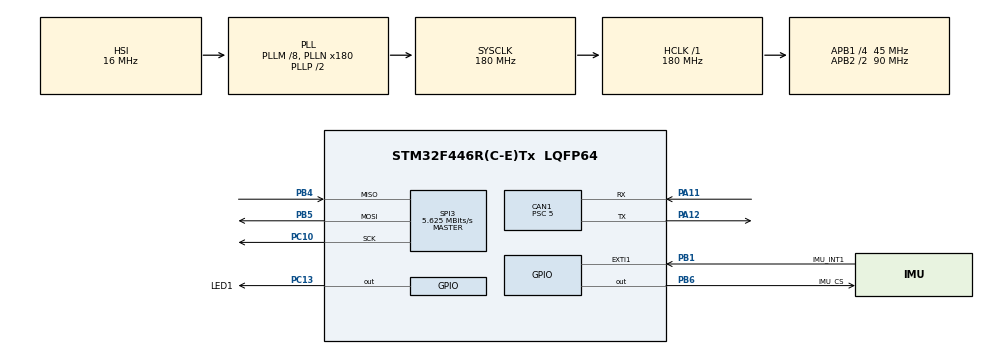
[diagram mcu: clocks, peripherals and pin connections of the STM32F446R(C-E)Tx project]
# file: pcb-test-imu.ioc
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CAN1.BS1=CAN_BS1_6TQ
CAN1.BS2=CAN_BS2_2TQ
CAN1.CalculateBaudRate=1000000
CAN1.CalculateTimeBit=1000
CAN1.CalculateTimeQuantum=111.11111111111111
CAN1.Prescaler=5
Mcu.Family=STM32F4
Mcu.Name=STM32F446R(C-E)Tx
Mcu.Package=LQFP64
NVIC.EXTI1_IRQn=true\:0\:0\:false\:false\:true\:true\:true\:true
NVIC.PriorityGroup=NVIC_PRIORITYGROUP_4
PA11.Mode=CAN_Activate
PA11.Signal=CAN1_RX
PA12.Mode=CAN_Activate
PA12.Signal=CAN1_TX
PA13.Mode=Serial_Wire
PA13.Signal=SYS_JTMS-SWDIO
PA14.Mode=Serial_Wire
PA14.Signal=SYS_JTCK-SWCLK
PB1.GPIO_Label=IMU_INT1
PB1.GPIO_PuPd=GPIO_PULLDOWN
PB1.Signal=GPXTI1
PB3.Signal=SYS_JTDO-SWO
PB4.Mode=Full_Duplex_Master
PB4.Signal=SPI3_MISO
PB5.Mode=Full_Duplex_Master
PB5.Signal=SPI3_MOSI
PB6.GPIO_Label=IMU_CS
PB6.Signal=GPIO_Output
PC10.Mode=Full_Duplex_Master
PC10.Signal=SPI3_SCK
PC13.GPIO_Label=LED1
PC13.Signal=GPIO_Output
ProjectManager.HeapSize=0x200
ProjectManager.StackSize=0x400
ProjectManager.TargetToolchain=STM32CubeIDE
RCC.AHBFreq_Value=180000000
RCC.APB1CLKDivider=RCC_HCLK_DIV4
RCC.APB1Freq_Value=45000000
RCC.APB1TimFreq_Value=90000000
RCC.APB2CLKDivider=RCC_HCLK_DIV2
RCC.APB2Freq_Value=90000000
RCC.APB2TimFreq_Value=180000000
RCC.CortexFreq_Value=180000000
RCC.HCLKFreq_Value=180000000
RCC.PLLM=8
RCC.PLLN=180
RCC.SYSCLKFreq_VALUE=180000000
RCC.SYSCLKSource=RCC_SYSCLKSOURCE_PLLCLK
RCC.USBFreq_Value=180000000
RCC.VCOOutputFreq_Value=360000000
SPI3.BaudRatePrescaler=SPI_BAUDRATEPRESCALER_8
SPI3.CLKPhase=SPI_PHASE_2EDGE
SPI3.CLKPolarity=SPI_POLARITY_HIGH
SPI3.CalculateBaudRate=5.625 MBits/s
SPI3.Direction=SPI_DIRECTION_2LINES
SPI3.Mode=SPI_MODE_MASTER
SPI3.VirtualType=VM_MASTER
board=custom

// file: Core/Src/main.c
/* USER CODE BEGIN Header */
/**
  ******************************************************************************
  * @file           : main.c
  * @brief          : Main program body
  ******************************************************************************
  * @attention
  *
  * Copyright (c) 2026 STMicroelectronics.
  * All rights reserved.
  *
  * This software is licensed under terms that can be found in the LICENSE file
  * in the root directory of this software component.
  * If no LICENSE file comes with this software, it is provided AS-IS.
  *
  ******************************************************************************
  */
/* USER CODE END Header */
#include "main.h"
#include "can.h"
#include "spi.h"
#include "gpio.h"

/* USER CODE BEGIN Includes */
#include "lsm6dso32_reg.h"
#include "lsm6dso32_port.h"
#include <stdio.h>
/* USER CODE END Includes */

/* USER CODE BEGIN PD */
#define IMU_BOOT_TIME_MS     35  // Datasheet turn-on time
#define TX_BUF_SIZE          96  // Enough for one CSV line
#define LED_BLINK_DIV        52  // Samples per LED1 toggle (~1 Hz blink at 104 Hz ODR)
#define IMU_RESET_TIMEOUT_MS 100 // Ceiling on the software-reset flag poll
/* USER CODE END PD */

/* USER CODE BEGIN PV */
/* Must outlive the ctx: lsm6dso32_spi_ctx() keeps a pointer to it. */
static lsm6dso32_spi_bus_t imu_bus = { &hspi3, IMU_CS_GPIO_Port, IMU_CS_Pin };
static stmdev_ctx_t imu;
/* USER CODE END PV */

void SystemClock_Config(void);
/* USER CODE BEGIN PFP */
static void swo_write(const char *buf, int len);
static void imu_init(void);
static void imu_stream(void);
/* USER CODE END PFP */

/* USER CODE BEGIN 0 */

/**
  * @brief  Sends bytes out ITM stimulus port 0, which the debugger streams
  *         over SWO (PB3). View it in the SWV ITM Data Console with port 0
  *         enabled. With no debugger attached, or SWV not started, ITM is
  *         disabled and ITM_SendChar returns at once, so this never blocks.
  * @retval None
  */
static void swo_write(const char *buf, int len)
{
  for (int i = 0; i < len; i++)
    ITM_SendChar((uint32_t)buf[i]);
}

/**
  * @brief  Brings the LSM6DSO32 up on SPI3: confirms the sensor is responsive,
  *         restores a known register state, locks the bus to SPI, then sets
  *         the output ranges and data rates.
  * @retval None (traps in Error_Handler if the sensor does not respond)
  */
static void imu_init(void)
{
  uint8_t whoami = 0;
  uint8_t rst;
  char msg[TX_BUF_SIZE];
  int  n;

  /* Constructor drives the chip select line idle-high */
  imu = lsm6dso32_spi_ctx(&imu_bus);

  /* Allow sensor turn-on time before the first transaction */
  HAL_Delay(IMU_BOOT_TIME_MS);

  /* Report what actually came back either way -- on a new board the value
     points at the fault:
       0x00        MISO stuck low: not connected, or sensor not driving it
       0xFF        MISO floating high: CS not reaching the sensor, or no power
       0xD8 / 0x36 0x6C shifted by a bit: stray clock edge, check CPOL/CPHA
       other       wrong part, or a short on the bus */
  int32_t id_status = lsm6dso32_device_id_get(&imu, &whoami);

  n = snprintf(msg, sizeof(msg), "IMU WHO_AM_I: got 0x%02X, want 0x%02X (bus status %ld)\r\n",
               whoami, LSM6DSO32_ID, (long)id_status);
  swo_write(msg, n);

  if (id_status != 0 || whoami != LSM6DSO32_ID)
    Error_Handler();

  /* Software reset, then wait for sensor to clear the flag. Bounded so a bus
     dropout here traps instead of hanging silently */
  lsm6dso32_reset_set(&imu, PROPERTY_ENABLE);

  uint32_t reset_start = HAL_GetTick();

  do {
    if (lsm6dso32_reset_get(&imu, &rst) != 0 ||
        HAL_GetTick() - reset_start > IMU_RESET_TIMEOUT_MS) {
      const char err[] = "IMU software reset did not complete\r\n";
      swo_write(err, sizeof(err) - 1);
      Error_Handler();
    }
  } while (rst);

  /* Disable I2C and set the 4-wire mode for SPI */
  lsm6dso32_i2c_interface_set(&imu, LSM6DSO32_I2C_DISABLE);
  lsm6dso32_spi_mode_set(&imu, LSM6DSO32_SPI_4_WIRE);

  /* Output registers are not updated until both MSB and LSB have been read */
  lsm6dso32_block_data_update_set(&imu, PROPERTY_ENABLE);

  /* Measurement ranges */
  lsm6dso32_xl_full_scale_set(&imu, LSM6DSO32_16g);
  lsm6dso32_gy_full_scale_set(&imu, LSM6DSO32_2000dps);

  /* Output data rates */
  lsm6dso32_xl_data_rate_set(&imu, LSM6DSO32_XL_ODR_104Hz_HIGH_PERF);
  lsm6dso32_gy_data_rate_set(&imu, LSM6DSO32_GY_ODR_104Hz_HIGH_PERF);
}

/**
  * @brief  Polls the data-ready flags and sends one CSV sample per new
  *         reading over SWO. Returns immediately when nothing fresh is
  *         waiting, so the caller sets the pace, not this function.
  *
  *         Line format, one per sample:
  *           t_ms,ax_mg,ay_mg,az_mg,gx_mdps,gy_mdps,gz_mdps
  * @retval None
  */
static void imu_stream(void)
{
  uint8_t xl_ready = 0;
  uint8_t gy_ready = 0;
  int16_t raw_xl[3];
  int16_t raw_gy[3];
  char line[TX_BUF_SIZE];

  lsm6dso32_xl_flag_data_ready_get(&imu, &xl_ready);
  lsm6dso32_gy_flag_data_ready_get(&imu, &gy_ready);

  /* Both run at the same ODR, so wait until the pair is ready and emit one
     row per sample instead of a half-updated line */
  if (!xl_ready || !gy_ready)
    return;

  /* Reading the output registers is what clears the data-ready flags and
     releases the BDU hold for the next sample */
  lsm6dso32_acceleration_raw_get(&imu, raw_xl);
  lsm6dso32_angular_rate_raw_get(&imu, raw_gy);

  /* Scale helpers must match the ranges set in imu_init. Values are kept in
     mg / mdps as integers so the line needs no float formatting */
  int len = snprintf(line, sizeof(line),
                     "%lu,%ld,%ld,%ld,%ld,%ld,%ld\n",
                     (unsigned long)HAL_GetTick(),
                     (long)lsm6dso32_from_fs16_to_mg(raw_xl[0]),
                     (long)lsm6dso32_from_fs16_to_mg(raw_xl[1]),
                     (long)lsm6dso32_from_fs16_to_mg(raw_xl[2]),
                     (long)lsm6dso32_from_fs2000_to_mdps(raw_gy[0]),
                     (long)lsm6dso32_from_fs2000_to_mdps(raw_gy[1]),
                     (long)lsm6dso32_from_fs2000_to_mdps(raw_gy[2]));

  swo_write(line, len);

  /* Heartbeat on LED1, divided down to ~1 Hz so it is visibly blinking.
     Blinking means samples are still going out; solid on means
     Error_Handler, off means the stream stopped */
  static uint16_t led_div;

  if (++led_div >= LED_BLINK_DIV) {
    led_div = 0;
    HAL_GPIO_TogglePin(LED1_GPIO_Port, LED1_Pin);
  }
}

/* USER CODE END 0 */

int main(void)
{

  /* MCU Configuration--------------------------------------------------------*/

  /* Reset of all peripherals, Initializes the Flash interface and the Systick. */
  HAL_Init();

  /* Configure the system clock */
  SystemClock_Config();

  /* Initialize all configured peripherals */
  MX_GPIO_Init();
  MX_CAN1_Init();
  MX_SPI3_Init();
  /* USER CODE BEGIN 2 */
  imu_init();

  const char header[] = "t_ms,ax_mg,ay_mg,az_mg,gx_mdps,gy_mdps,gz_mdps\n";
  swo_write(header, sizeof(header) - 1);
  /* USER CODE END 2 */

  /* Infinite loop */
  while (1)
  {

    /* USER CODE BEGIN 3 */
	imu_stream();
  }
  /* USER CODE END 3 */
}

void SystemClock_Config(void)
{
  RCC_OscInitTypeDef RCC_OscInitStruct = {0};
  RCC_ClkInitTypeDef RCC_ClkInitStruct = {0};

  /** Configure the main internal regulator output voltage
  */
  __HAL_RCC_PWR_CLK_ENABLE();
  __HAL_PWR_VOLTAGESCALING_CONFIG(PWR_REGULATOR_VOLTAGE_SCALE1);

  /** Initializes the RCC Oscillators according to the specified parameters
  * in the RCC_OscInitTypeDef structure.
  */
  RCC_OscInitStruct.OscillatorType = RCC_OSCILLATORTYPE_HSI;
  RCC_OscInitStruct.HSIState = RCC_HSI_ON;
  RCC_OscInitStruct.HSICalibrationValue = RCC_HSICALIBRATION_DEFAULT;
  RCC_OscInitStruct.PLL.PLLState = RCC_PLL_ON;
  RCC_OscInitStruct.PLL.PLLSource = RCC_PLLSOURCE_HSI;
  RCC_OscInitStruct.PLL.PLLM = 8;
  RCC_OscInitStruct.PLL.PLLN = 180;
  RCC_OscInitStruct.PLL.PLLP = RCC_PLLP_DIV2;
  RCC_OscInitStruct.PLL.PLLQ = 2;
  RCC_OscInitStruct.PLL.PLLR = 2;
  if (HAL_RCC_OscConfig(&RCC_OscInitStruct) != HAL_OK)
  {
    Error_Handler();
  }

  /** Activate the Over-Drive mode
  */
  if (HAL_PWREx_EnableOverDrive() != HAL_OK)
  {
    Error_Handler();
  }

  /** Initializes the CPU, AHB and APB buses clocks
  */
  RCC_ClkInitStruct.ClockType = RCC_CLOCKTYPE_HCLK|RCC_CLOCKTYPE_SYSCLK
                              |RCC_CLOCKTYPE_PCLK1|RCC_CLOCKTYPE_PCLK2;
  RCC_ClkInitStruct.SYSCLKSource = RCC_SYSCLKSOURCE_PLLCLK;
  RCC_ClkInitStruct.AHBCLKDivider = RCC_SYSCLK_DIV1;
  RCC_ClkInitStruct.APB1CLKDivider = RCC_HCLK_DIV4;
  RCC_ClkInitStruct.APB2CLKDivider = RCC_HCLK_DIV2;

  if (HAL_RCC_ClockConfig(&RCC_ClkInitStruct, FLASH_LATENCY_5) != HAL_OK)
  {
    Error_Handler();
  }
}

void Error_Handler(void)
{
  /* USER CODE BEGIN Error_Handler_Debug */
  /* User can add his own implementation to report the HAL error return state */
  __disable_irq();
  while (1)
  {
	  HAL_GPIO_WritePin(LED1_GPIO_Port, LED1_Pin, GPIO_PIN_SET); // Keep LED on if an error occurs
  }
  /* USER CODE END Error_Handler_Debug */
}
